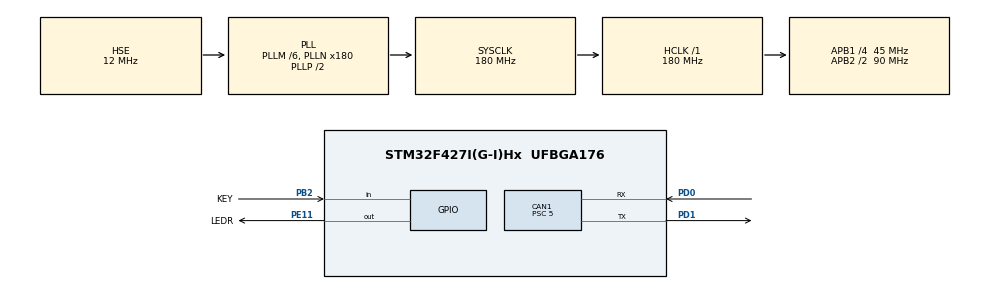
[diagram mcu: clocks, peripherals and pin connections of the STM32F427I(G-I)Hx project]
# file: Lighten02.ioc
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CAN1.BS1=CAN_BS1_7TQ
CAN1.CalculateBaudRate=1000000
CAN1.CalculateTimeBit=1000
CAN1.CalculateTimeQuantum=111.11111111111111
CAN1.Prescaler=5
Mcu.Family=STM32F4
Mcu.Name=STM32F427I(G-I)Hx
Mcu.Package=UFBGA176
NVIC.CAN1_RX0_IRQn=true\:0\:0\:false\:false\:true\:true\:true\:true
NVIC.CAN1_RX1_IRQn=true\:0\:0\:false\:false\:true\:true\:true\:true
NVIC.CAN1_TX_IRQn=true\:0\:0\:false\:false\:true\:true\:true\:true
NVIC.PriorityGroup=NVIC_PRIORITYGROUP_4
NVIC.TIM6_DAC_IRQn=true\:0\:0\:false\:false\:true\:true\:true\:true
PA13.Mode=Serial_Wire
PA13.Signal=SYS_JTMS-SWDIO
PA14.Mode=Serial_Wire
PA14.Signal=SYS_JTCK-SWCLK
PB2/BOOT1.GPIO_Label=KEY
PB2/BOOT1.GPIO_PuPd=GPIO_PULLDOWN
PB2/BOOT1.Signal=GPIO_Input
PD0.Mode=CAN_Activate
PD0.Signal=CAN1_RX
PD1.Mode=CAN_Activate
PD1.Signal=CAN1_TX
PE11.GPIO_Label=LEDR
PE11.Signal=GPIO_Output
PE7.Signal=UART7_RX
PE8.Signal=UART7_TX
PH0/OSC_IN.Mode=HSE-External-Oscillator
PH0/OSC_IN.Signal=RCC_OSC_IN
PH1/OSC_OUT.Mode=HSE-External-Oscillator
PH1/OSC_OUT.Signal=RCC_OSC_OUT
ProjectManager.HeapSize=0x200
ProjectManager.StackSize=0x400
ProjectManager.TargetToolchain=MDK-ARM V5.32
RCC.48MHZClocksFreq_Value=90000000
RCC.AHBFreq_Value=180000000
RCC.APB1CLKDivider=RCC_HCLK_DIV4
RCC.APB1Freq_Value=45000000
RCC.APB1TimFreq_Value=90000000
RCC.APB2CLKDivider=RCC_HCLK_DIV2
RCC.APB2Freq_Value=90000000
RCC.APB2TimFreq_Value=180000000
RCC.CortexFreq_Value=180000000
RCC.HCLKFreq_Value=180000000
RCC.HSE_VALUE=12000000
RCC.HSI_VALUE=16000000
RCC.LSE_VALUE=32768
RCC.PLLM=6
RCC.PLLN=180
RCC.PLLSourceVirtual=RCC_PLLSOURCE_HSE
RCC.SYSCLKFreq_VALUE=180000000
RCC.SYSCLKSource=RCC_SYSCLKSOURCE_PLLCLK
RCC.VCOOutputFreq_Value=360000000
TIM1.Period=1000-1
TIM1.Prescaler=180-1
TIM6.Period=10000-1
TIM6.Prescaler=18-1
VP_TIM1_VS_ClockSourceINT.Mode=Internal
VP_TIM6_VS_ClockSourceINT.Mode=Enable_Timer
board=custom

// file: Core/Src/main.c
/* USER CODE BEGIN Header */
/**
  ******************************************************************************
  * @file           : main.c
  * @brief          : Main program body
  ******************************************************************************
  * @attention
  *
  * Copyright (c) 2025 STMicroelectronics.
  * All rights reserved.
  *
  * This software is licensed under terms that can be found in the LICENSE file
  * in the root directory of this software component.
  * If no LICENSE file comes with this software, it is provided AS-IS.
  *
  ******************************************************************************
  */
/* USER CODE END Header */
#include "main.h"
#include "can.h"
#include "tim.h"
#include "gpio.h"

/* USER CODE BEGIN Includes */
CAN_RxHeaderTypeDef rx_header;
CAN_TxHeaderTypeDef tx_header={
  .StdId=0x201,
  .ExtId=0,
  .IDE=CAN_ID_STD,
  .RTR=CAN_RTR_DATA,
  .DLC=8,
  .TransmitGlobalTime=DISABLE
};
CAN_FilterTypeDef filter_config={
  .FilterIdHigh=0x0000,
  .FilterIdLow=0x0000,
  .FilterMaskIdLow=0x0000,
  .FilterFIFOAssignment=CAN_FILTER_FIFO0,
  .FilterBank=0,
  .FilterMode=CAN_FILTERMODE_IDMASK,
  .FilterScale=CAN_FILTERSCALE_32BIT,
  .FilterActivation=ENABLE
};
uint8_t rx_data[8];
uint8_t tx_data[8]={0};
uint32_t can_tx_mail_box_;
uint8_t stop_flag=1;
uint8_t a=0;
int16_t intensity;

/* USER CODE END Includes */

void SystemClock_Config(void);

int main(void)
{

  /* MCU Configuration--------------------------------------------------------*/

  /* Reset of all peripherals, Initializes the Flash interface and the Systick. */
  HAL_Init();

  /* Configure the system clock */
  SystemClock_Config();

  /* Initialize all configured peripherals */
  MX_GPIO_Init();
  MX_TIM1_Init();
  MX_CAN1_Init();
  MX_TIM6_Init();
  /* USER CODE BEGIN 2 */
  HAL_CAN_ConfigFilter(&hcan1,&filter_config);
  HAL_CAN_Start(&hcan1);
  HAL_CAN_ActivateNotification(&hcan1,CAN_IT_RX_FIFO0_MSG_PENDING);
  HAL_TIM_Base_Start_IT(&htim6);
  /* USER CODE END 2 */

  /* Infinite loop */
  /* USER CODE BEGIN WHILE */
  while (1) {
    GPIO_PinState State=HAL_GPIO_ReadPin(KEY_GPIO_Port, KEY_Pin);
    HAL_Delay(50);
    if (State==GPIO_PIN_SET) {
      a=(a+1)%2;
      if (a==1) {
        stop_flag=1;
      }
      else {
        stop_flag=0;
      }
      if (stop_flag==1){
        tx_data[0]=0;
        tx_data[1]=0;
      }
    }

    /* USER CODE END WHILE */

}

void SystemClock_Config(void)
{
  RCC_OscInitTypeDef RCC_OscInitStruct = {0};
  RCC_ClkInitTypeDef RCC_ClkInitStruct = {0};

  /** Configure the main internal regulator output voltage
  */
  __HAL_RCC_PWR_CLK_ENABLE();
  __HAL_PWR_VOLTAGESCALING_CONFIG(PWR_REGULATOR_VOLTAGE_SCALE1);

  /** Initializes the RCC Oscillators according to the specified parameters
  * in the RCC_OscInitTypeDef structure.
  */
  RCC_OscInitStruct.OscillatorType = RCC_OSCILLATORTYPE_HSE;
  RCC_OscInitStruct.HSEState = RCC_HSE_ON;
  RCC_OscInitStruct.PLL.PLLState = RCC_PLL_ON;
  RCC_OscInitStruct.PLL.PLLSource = RCC_PLLSOURCE_HSE;
  RCC_OscInitStruct.PLL.PLLM = 6;
  RCC_OscInitStruct.PLL.PLLN = 180;
  RCC_OscInitStruct.PLL.PLLP = RCC_PLLP_DIV2;
  RCC_OscInitStruct.PLL.PLLQ = 4;
  if (HAL_RCC_OscConfig(&RCC_OscInitStruct) != HAL_OK)
  {
    Error_Handler();
  }

  /** Activate the Over-Drive mode
  */
  if (HAL_PWREx_EnableOverDrive() != HAL_OK)
  {
    Error_Handler();
  }

  /** Initializes the CPU, AHB and APB buses clocks
  */
  RCC_ClkInitStruct.ClockType = RCC_CLOCKTYPE_HCLK|RCC_CLOCKTYPE_SYSCLK
                              |RCC_CLOCKTYPE_PCLK1|RCC_CLOCKTYPE_PCLK2;
  RCC_ClkInitStruct.SYSCLKSource = RCC_SYSCLKSOURCE_PLLCLK;
  RCC_ClkInitStruct.AHBCLKDivider = RCC_SYSCLK_DIV1;
  RCC_ClkInitStruct.APB1CLKDivider = RCC_HCLK_DIV4;
  RCC_ClkInitStruct.APB2CLKDivider = RCC_HCLK_DIV2;

  if (HAL_RCC_ClockConfig(&RCC_ClkInitStruct, FLASH_LATENCY_5) != HAL_OK)
  {
    Error_Handler();
  }
}

void Error_Handler(void)
{
    __disable_irq();
    while (1)
    {
    }
}
